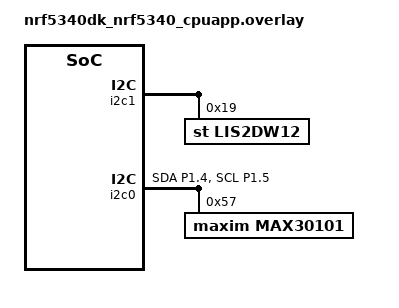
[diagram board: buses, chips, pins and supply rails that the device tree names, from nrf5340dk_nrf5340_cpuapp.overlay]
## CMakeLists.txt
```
# SPDX-License-Identifier: Apache-2.0

cmake_minimum_required(VERSION 3.20.0)

find_package(Zephyr REQUIRED HINTS $ENV{ZEPHYR_BASE})
project(hello_world)

target_sources(app PRIVATE src/main.c)

# Custom files and folders

target_sources(app PRIVATE
    src/remote_service/remote.c
)

zephyr_library_include_directories(src/remote_service)
```

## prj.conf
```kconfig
# Enable DK LED and Buttons library
CONFIG_GPIO=y
CONFIG_CONSOLE=n
# Configure Bluetooth
CONFIG_SERIAL=n
CONFIG_LOG=n
CONFIG_PRINTK=n
CONFIG_CLOCK_CONTROL_NRF_K32SRC_RC=y
CONFIG_STDOUT_CONSOLE=n
CONFIG_UART_INTERRUPT_DRIVEN=n

CONFIG_BT_CTLR_TX_PWR_MINUS_20=y
CONFIG_BOARD_ENABLE_DCDC=n #used to be y
CONFIG_RTT_CONSOLE=n


CONFIG_BT=y
CONFIG_BT_PERIPHERAL=y
CONFIG_BT_DEVICE_NAME="PPG_Earring"
CONFIG_BT_DEVICE_APPEARANCE=0
CONFIG_BT_MAX_CONN=1

#GATT_CLIENT needed for requesting ATT_MTU update
CONFIG_BT_GATT_CLIENT=y
#PHY update needed for updating PHY request     
CONFIG_BT_USER_PHY_UPDATE=y
#For data length update
CONFIG_BT_USER_DATA_LEN_UPDATE=y
#This is the maximum data length with Nordic Softdevice controller
CONFIG_BT_CTLR_DATA_LENGTH_MAX=251
#These buffers are needed for the data length max. 
CONFIG_BT_BUF_ACL_TX_SIZE=251
CONFIG_BT_BUF_ACL_RX_SIZE=251
#This is the maximum MTU size with Nordic Softdevice controller
CONFIG_BT_L2CAP_TX_MTU=247

#CONFIG_ASSERT=y

CONFIG_I2C=y
#CONFIG_LIS2DW12=y
CONFIG_SENSOR=y

#
CONFIG_SENSOR_LOG_LEVEL_DBG=y
CONFIG_MAX30101=y
CONFIG_MAX30101_LED2_PA=0x10
CONFIG_MAX30101_MULTI_LED_MODE=y
CONFIG_MAX30101_SLOT1=3
```

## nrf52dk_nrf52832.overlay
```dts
// To get started, press Ctrl+Space to bring up the completion menu and view the available nodes.

// You can also use the buttons in the sidebar to perform actions on nodes.
// Actions currently available include:

// * Enabling / disabling the node
// * Adding the bus to a bus
// * Removing the node
// * Connecting ADC channels

// For more help, browse the DeviceTree documentation at https://docs.zephyrproject.org/latest/guides/dts/index.html
// You can also visit the nRF DeviceTree extension documentation at https://nrfconnect.github.io/vscode-nrf-connect/devicetree/nrfdevicetree.html
&i2c0{
    //status = "okay";
    //status = "okay";
    /*lis2dw12@19 {
        compatible  = "st,lis2dw12";
        reg = <0x19>;
        label = "LIS2DW12";
    };*/
    max30101@57 {
        compatible = "maxim,max30101";
        reg = <0x57>;
        label = "MAX30101";
    };/*
    ti_hdc@40 {
        compatible = "ti,hdc2010";
        reg = <0x40U>;
        label = "HDC2010";
    };*/
    status = "okay";
    pinctrl-0 = <&i2c0_default>;
};

&pinctrl {
    i2c0_default: i2c0_default {
        group1 {
            psels = <NRF_PSEL(TWIM_SDA, 0, 16)>,
                <NRF_PSEL(TWIM_SCL, 0, 14)>;
        };
    };
};

/*&i2c1{
    
};*/


&uart0 {
    status = "disabled";
};





// measuure the voltage that gets connected to the sensor
// just connect the voltage
// after connecting the voltage, measure the current consumption of sensor using multimeter for both sensors
// 
```

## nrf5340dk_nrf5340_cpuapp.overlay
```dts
// To get started, press Ctrl+Space to bring up the completion menu and view the available nodes.

// You can also use the buttons in the sidebar to perform actions on nodes.
// Actions currently available include:

// * Enabling / disabling the node
// * Adding the bus to a bus
// * Removing the node
// * Connecting ADC channels

// For more help, browse the DeviceTree documentation at https://docs.zephyrproject.org/latest/guides/dts/index.html
// You can also visit the nRF DeviceTree extension documentation at https://nrfconnect.github.io/vscode-nrf-connect/devicetree/nrfdevicetree.html
&i2c1{
    compatible = "nordic,nrf-twim";
	status = "okay";
    lis2dw12@19 {
        compatible  = "st,lis2dw12";
        reg = <0x19>;
        label = "LIS2DW12";
        int-pin = < 1 >;
    };
};
&uart0 {
    status = "disabled";
};

&pinctrl {
    i2c0_default: i2c0_default {
		group0 {
			psels = <NRF_PSEL(TWIM_SDA, 1, 4)>,
				<NRF_PSEL(TWIM_SCL, 1, 5)>;
		};
	};

	i2c0_sleep: i2c0_sleep {
		group0 {
			psels = <NRF_PSEL(TWIM_SDA, 1, 4)>,
				<NRF_PSEL(TWIM_SCL, 1, 5)>;
			low-power-enable;
		};
	};

};
&i2c0 {
    compatible = "nordic,nrf-twim";
	status = "okay";
	pinctrl-0 = <&i2c0_default>;
	pinctrl-1 = <&i2c0_sleep>;
	pinctrl-names = "default", "sleep";
    max30101@57 {
        compatible = "maxim,max30101";
        label = "MAX30101";
        reg = <0x57>;
    };
};
```

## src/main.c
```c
/*
 * Copyright (c) 2012-2014 Wind River Systems, Inc.
 *
 * SPDX-License-Identifier: Apache-2.0
 */

//#include <zephyr/kernel.h>
//#include <dk_buttons_and_leds.h>
#include <zephyr/drivers/sensor.h>
//#include <stdlib.h>
#include <zephyr/drivers/i2c.h>

#include "remote.h"

#define RUN_STATUS_LED DK_LED1
#define CONN_STATUS_LED DK_LED2
#define RUN_LED_BLINK_INTERVAL 20

bool connected = false;
int count = 0;
int val = -1;
static struct bt_conn *current_conn;

struct device *lis2dw12 = DEVICE_DT_GET_ANY(st_lis2dw12);
//struct device *accel = DEVICE_DT_GET(DT_NODELABEL(i21));
struct device *accel = DEVICE_DT_GET_ANY(st_lis2dw12);
const struct device *const dev = DEVICE_DT_GET_ANY(maxim_max30101);
const struct device *const hdc2010 = DEVICE_DT_GET_ANY(ti_hdc2010);

/* Declarations */
void on_connected(struct bt_conn *conn, uint8_t err);
void on_disconnected(struct bt_conn *conn, uint8_t reason);
void on_le_data_len_updated(struct bt_conn *conn, struct bt_conn_le_data_len_info *info);
void on_notif_changed(enum bt_button_notifications_enabled status);
void on_data_received(struct bt_conn *conn, const uint8_t *const data, uint16_t len);

struct bt_conn_cb bluetooth_callbacks = {
	.connected 		= on_connected,
	.disconnected 	= on_disconnected,
	.le_data_len_updated    = on_le_data_len_updated,
};
struct bt_remote_service_cb remote_callbacks = {
	.notif_changed = on_notif_changed,
    .data_received = on_data_received,
};

/* Callbacks */



void on_connected(struct bt_conn *conn, uint8_t err)
{
	if(err) {
		//printk("connection err: %d", err);
		return;
	}
	//printk("Connected.");
	current_conn = bt_conn_ref(conn);
	request_mtu_exchange(conn);
}

void on_disconnected(struct bt_conn *conn, uint8_t reason)
{
	//printk("Disconnected (reason: %d)", reason);
	if(current_conn) {
		bt_conn_unref(current_conn);
		current_conn = NULL;
	}
}

void on_le_data_len_updated(struct bt_conn *conn, struct bt_conn_le_data_len_info *info)
{
    uint16_t tx_len     = info->tx_max_len; 
    uint16_t tx_time    = info->tx_max_time;
    uint16_t rx_len     = info->rx_max_len;
    uint16_t rx_time    = info->rx_max_time;
   // printk("Data length updated. Length %d/%d bytes, time %d/%d us", tx_len, rx_len, tx_time, rx_time);
}

void on_notif_changed(enum bt_button_notifications_enabled status)
{
	if (status == BT_BUTTON_NOTIFICATIONS_ENABLED) {
		//printk("Notifications enabled");
	}
	else {
		//printk("Notificatons disabled");
	} 
}

void on_data_received(struct bt_conn *conn, const uint8_t *const data, uint16_t len)
{
	uint8_t temp_str[len+1];
	memcpy(temp_str, data, len);
	temp_str[len] = 0x00;

	//printk("Received data on conn %p. Len: %d", (void *)conn, len);
}


void accel_updatev1()
{
	// save it to a buffer, when reach certain length send, 240 max - done
	// measure current & put in shared slides, average current is 1.36 mA
	// change sleep function to app timer, so entire thing goes to sleep --> reduce power consumption
	// on chip step counting
	// modify android studio app
	count++;
	struct sensor_value acc[3];
	struct sensor_value ir;
	sensor_sample_fetch(lis2dw12);
	sensor_channel_get(lis2dw12, SENSOR_CHAN_ACCEL_XYZ, acc);
	sensor_sample_fetch(dev);
	sensor_channel_get(dev, SENSOR_CHAN_GREEN, &ir);
	set_accel_status((int8_t)acc[0].val1,(int8_t)acc[0].val2, (int8_t)acc[1].val1, (int8_t)acc[1].val2, (int8_t)acc[2].val1, (int8_t)acc[2].val2,(uint16_t)ir.val1 ,count);
	if(count == 29) {
		send_button_notification(current_conn);
	}
}

void ppg()
{
	uint8_t data[200] = {0};
	for(int i = 0; i < 20; i++) {
		//data[i] = 0xFF;
		struct sensor_value acc[3];
	 	struct sensor_value ir;
		struct sensor_value temp;
		//sensor_sample_fetch(lis2dw12);
		//sensor_channel_get(lis2dw12, SENSOR_CHAN_ACCEL_XYZ, acc);
	 	sensor_sample_fetch(dev);
	 	sensor_channel_get(dev, SENSOR_CHAN_GREEN, &ir);
		//sensor_sample_fetch(hdc2010);
		//sensor_channel_get(hdc2010, SENSOR_CHAN_AMBIENT_TEMP, &temp);
	 	uint16_t ppg_data = (uint16_t)ir.val1;
		data[i*10] = (ppg_data >> 8) & 0xFF;
	 	data[(i*10) + 1] = ppg_data & 0xFF;
		//data[(i*10) + 2] = (uint8_t)(acc[0].val1 & 0xFF);
		//data[(i*10) + 3] = (uint8_t)(acc[0].val2 & 0xFF);
		//data[(i*10) + 4] = (uint8_t)(acc[1].val1 & 0xFF);
		//data[(i*10) + 5] = (uint8_t)(acc[1].val2 & 0xFF);
		//data[(i*10) + 6] = (uint8_t)(acc[2].val1 & 0xFF);
		//data[(i*10) + 7] = (uint8_t)(acc[2].val2 & 0xFF);

		//data[(i*10) + 8] = (uint8_t)(temp.val1 & 0xFF);
		//data[(i*10) + 9] = (uint8_t)(temp.val2 & 0xFF);

	}
	set_ppg(data);
	send_button_notification(current_conn);
	//60 bytes
	
}



/* Configurations */

/* main */

void main(void)
{
	int err;
	int blink_status = 0;
	/*printk("Hello World! %s\n", CONFIG_BOARD);
	err = bluetooth_init(&bluetooth_callbacks, &remote_callbacks);
	if (err) {
		printk("bt_enable returned %d", err);
	}*/

	/*if(!device_is_ready(lis2dw12)) {
		//printk("lis2dw12 device is not ready\n");
		return;
	}*/

	
	/*if (!device_is_ready(hdc2010)) {
		return;
	}*/


	/*uint8_t buf[2] = {0x2E, 0xD0};
	int ret = i2c_write(accel, buf, 2, 0x19);
	if(ret != 0) {
		return;
	}*/

	if (!device_is_ready(dev)) {
		printf("max30101 device %s is not ready\n", dev->name);
		return;
	}

	//printk("Hello World! %s\n", CONFIG_BOARD);
	err = bluetooth_init(&bluetooth_callbacks, &remote_callbacks);
	if (err) {
		//printk("bt_enable returned %d", err);
	}

	// send data to register where i enable fifo

	

    /*for(int i = 0; i < 10; i++){
		k_sleep(K_MSEC(1000));
	}*/

	for (;;) {
		
		/*if(count == 29) {
			count = -1;
		}*/
		ppg();
		/*if(count == 30) {
			ppg();
			count = 0;
		}
		count++;*/
		k_sleep(K_MSEC(400));
	}
	//k_timer_stop(&mytimer);
}
```
